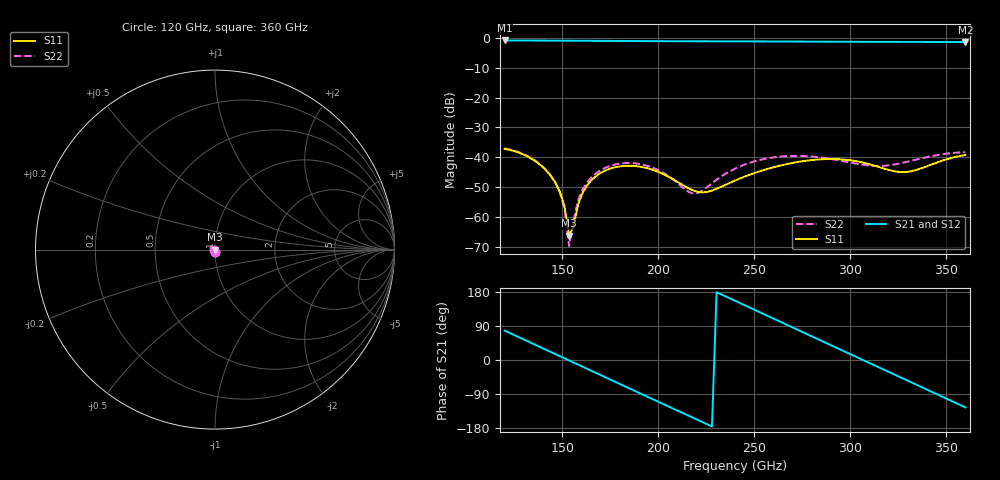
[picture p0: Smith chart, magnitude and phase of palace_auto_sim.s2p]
#  GHZ S DB R 50
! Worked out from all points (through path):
!   101 points, 120 GHz to 360 GHz, reference 50 ohm
!   highest |S21| = -0.85 dB at 120 GHz (marker M1); lowest = -1.4 dB at 360 GHz (marker M2)
!   group delay of S21, straight-line fit = 6.51 ps
!   lowest |S11| = -66.3 dB at 153.6 GHz (marker M3), VSWR 1.00, Z = 50 - j0.0303 ohm
!   |S11| at or under -10 dB: start of sweep to end of sweep
!   |S22| runs from -69.8 to -37.0 dB; largest |S21 - S12| = 1.5e-13
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120  -37.18 -85.5  -0.85 77.5  -0.85 77.5  -37.05 -85.9
134.4  -40.63 -122.1  -0.88 43.8  -0.88 43.8  -40.44 -123.2
144  -46.17 -146.6  -0.90 21.2  -0.90 21.2  -46.07 -148.4
148.8  -51.60 -157.0  -0.92 10.0  -0.92 10.0  -51.78 -159.4
151.2  -56.38 -159.2  -0.92 4.3  -0.92 4.3  -57.05 -161.9
153.6  -66.25 -141.5  -0.93 -1.3  -0.93 -1.3  -69.79 -133.4
156  -62.97 -26.8  -0.94 -6.9  -0.94 -6.9  -60.80 -19.2
158.4  -55.52 -20.1  -0.94 -12.6  -0.94 -12.6  -54.15 -18.3
160.8  -51.70 -23.6  -0.95 -18.2  -0.95 -18.2  -50.58 -23.0
168  -46.12 -42.1  -0.97 -35.1  -0.97 -35.1  -45.19 -41.9
177.6  -43.34 -71.0  -1.01 -57.6  -1.01 -57.6  -42.42 -70.1
189.6  -43.06 -110.9  -1.05 -85.8  -1.05 -85.8  -42.18 -108.2
201.6  -45.32 -157.0  -1.09 -113.8  -1.09 -113.8  -44.82 -151.7
218.4  -51.17 110.3  -1.13 -153.1  -1.13 -153.1  -52.19 99.8
230.4  -50.58 25.3  -1.14 178.8  -1.14 178.8  -47.52 10.5
240  -47.80 -24.6  -1.15 156.3  -1.15 156.3  -43.80 -28.4
261.6  -43.09 -115.8  -1.19 105.6  -1.19 105.6  -39.91 -103.2
280.8  -40.88 167.8  -1.24 60.5  -1.24 60.5  -39.80 -175.1
302.4  -41.23 82.4  -1.30 9.9  -1.30 9.9  -42.05 86.7
321.6  -44.50 -12.3  -1.33 -35.0  -1.33 -35.0  -42.56 -21.7
340.8  -42.80 -127.1  -1.35 -80.0  -1.35 -80.0  -39.84 -113.2
360  -39.25 158.3  -1.38 -125.1  -1.38 -125.1  -38.32 175.8
